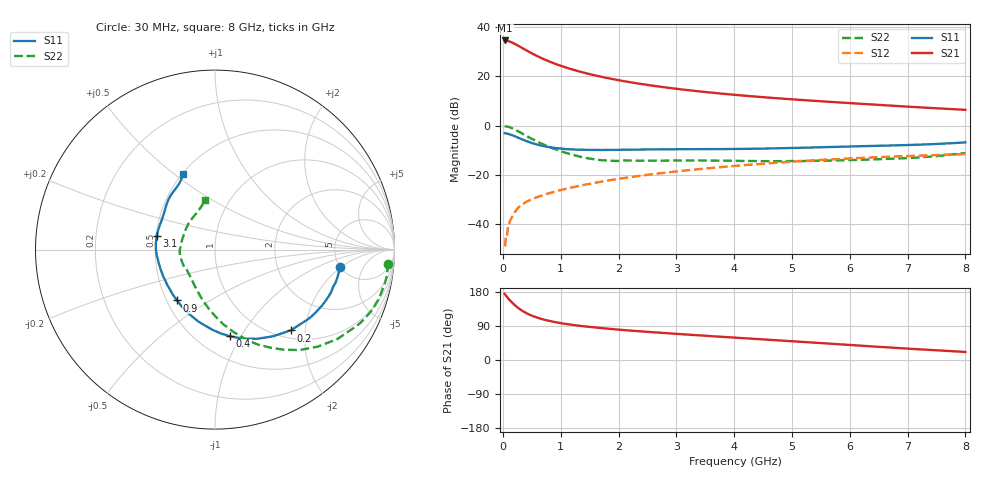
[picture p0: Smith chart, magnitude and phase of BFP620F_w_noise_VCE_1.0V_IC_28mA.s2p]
! Infineon Technologies  Discrete & RF Semiconductors
! BFP620F
! VCE =  1.0 V,  IC =  28 mA
! Common Emitter S-Parameters:  Dec 2014
# GHz  S  MA  R  50
!  f  S11  S21  S12  S22
! GHz  MAG  ANG  MAG  ANG  MAG  ANG  MAG  ANG
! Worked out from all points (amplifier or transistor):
!   95 points, 30 MHz to 8 GHz, reference 50 ohm
!   highest |S21| = 34.6 dB at 40 MHz (marker M1)
!   |S21| within 3 dB of that: start of sweep to 329.7 MHz
!   unconditionally stable (mu >= 1): 2.553 GHz to end of sweep
!   at 300 MHz: K = 0.37, MSG = 32.2 dB, |S12| = -32.4 dB
!   at 3.3 GHz: K = 1.02, MAG = 15.1 dB, |S12| = -17.8 dB
!   at 8 GHz: K = 1.06, MAG = 7.5 dB, |S12| = -11.5 dB
!   lowest NFmin = 1.08 dB at 450 MHz
!   S11 on the Smith chart (normalised r, x): 30 MHz: 5.01, -1.93; 200 MHz: 1.15, -1.68; 400 MHz: 0.71, -0.90; 900 MHz: 0.57, -0.37; 3.1 GHz: 0.50, +0.09; 8 GHz: 0.50, +0.54
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0.03  0.7052 -7.9  53.47 174.5  0.0036 88.6  0.9676 -4.6
0.04  0.701 -10.5  53.63 172.5  0.0037 89.2  0.9677 -6.8
0.08  0.689 -20.1  52.86 165.0  0.007 83.0  0.957 -14.7
0.12  0.6661 -29.9  50.71 157.8  0.0116 78.5  0.9294 -22.5
0.15  0.6481 -36.6  49.18 153.0  0.0135 75.2  0.8997 -27.9
0.2  0.6169 -46.9  46.03 145.7  0.0173 71.2  0.8452 -36.1
0.25  0.5808 -56.3  42.9 139.1  0.0207 68.1  0.7872 -43.4
0.3  0.549 -64.9  39.81 133.4  0.0239 66.2  0.7308 -50.0
0.4  0.4908 -80.0  34.11 124.2  0.0283 63.5  0.6258 -60.7
0.5  0.4457 -92.2  29.41 117.1  0.0322 60.9  0.5423 -69.7
0.6  0.412 -102.9  25.63 111.5  0.0358 60.1  0.4718 -77.2
0.7  0.3864 -111.9  22.6 106.9  0.0393 59.8  0.4173 -83.8
0.9  0.3533 -126.7  18.12 100.1  0.046 59.8  0.335 -95.4
1.1  0.335 -138.6  15.03 94.9  0.0529 60.1  0.2789 -106.0
1.4  0.325 -152.5  11.93 89.0  0.0629 60.2  0.2266 -121.0
2  0.3239 -171.8  8.389 80.2  0.0836 59.4  0.1927 -147.3
2.7  0.3314 173.5  6.229 72.2  0.1078 56.4  0.1958 -164.2
3.1  0.334 166.8  5.435 68.0  0.1215 54.5  0.1966 -170.8
4.1  0.3382 152.5  4.143 58.2  0.1558 48.7  0.193 175.4
5.4  0.363 139.1  3.19 45.6  0.1988 39.8  0.1941 152.6
6.7  0.3969 126.0  2.559 32.9  0.2349 29.8  0.2134 128.5
8  0.4587 112.7  2.1 21.2  0.2655 20.2  0.2801 101.1
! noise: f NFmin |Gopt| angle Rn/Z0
0.45  1.08  0.03  -173  0.19
0.9  1.11  0.04  -171  0.15
1.5  1.12  0.08  -149  0.15
1.8  1.14  0.08  -147  0.17
1.9  1.14  0.08  -146  0.15
2.4  1.16  0.09  -146  0.17
3.5  1.23  0.12  -142  0.17
5.5  1.38  0.2  239  0.13
6  1.42  0.2  259  0.15
